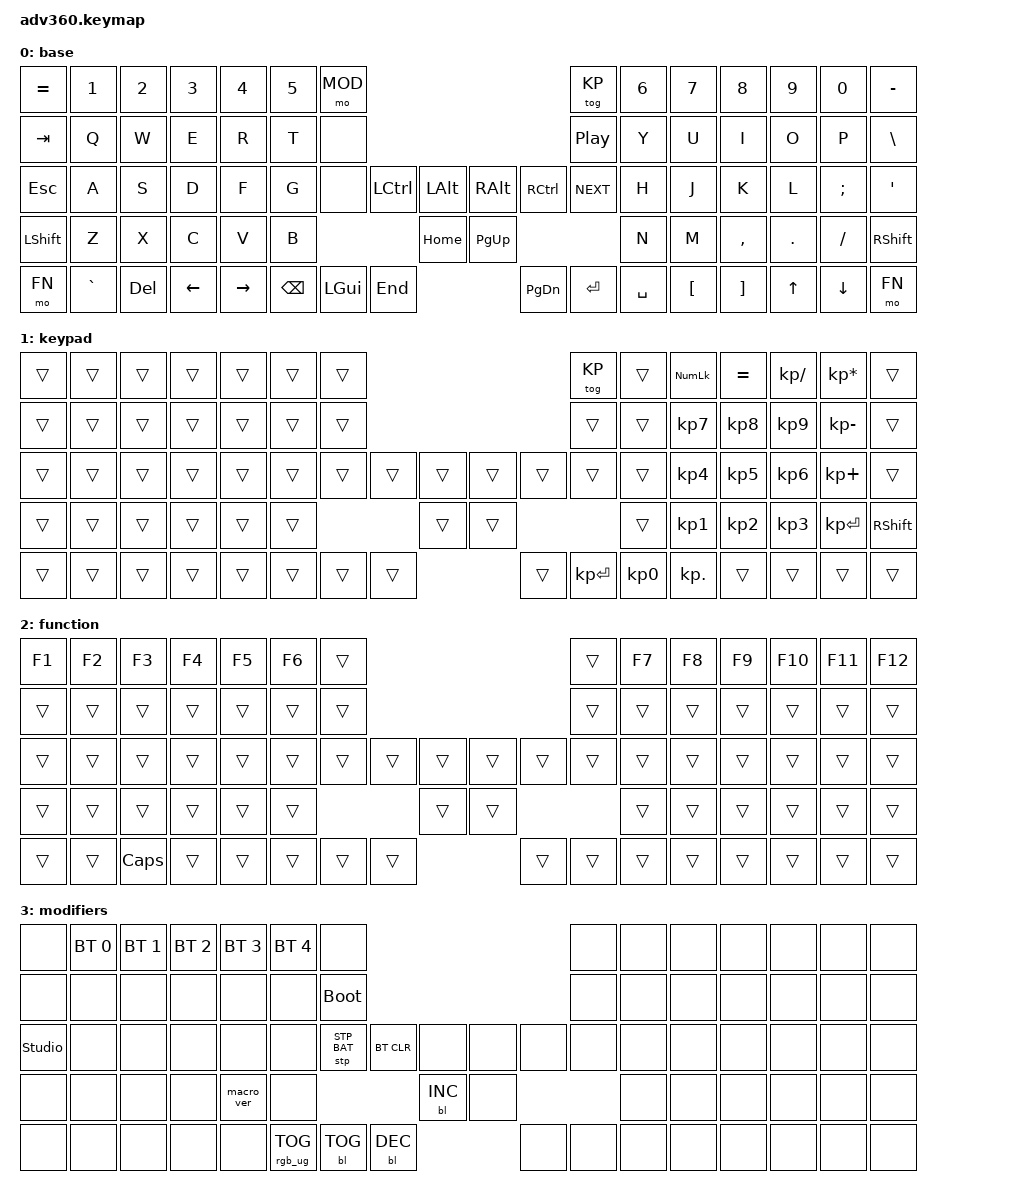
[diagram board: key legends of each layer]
#include <behaviors.dtsi>
#include <dt-bindings/zmk/keys.h>
#include <dt-bindings/zmk/bt.h>
#include <dt-bindings/zmk/rgb.h>
#include <dt-bindings/zmk/stp.h>
#include <dt-bindings/zmk/backlight.h>
#include <dt-bindings/zmk/pointing.h>

#define DFLT 0
#define KP   1
#define FN   2
#define MOD  3

/ {
    behaviors {
      #include "macros.dtsi"
      #include "version.dtsi"

      hm: homerow_mods {
          compatible = "zmk,behavior-hold-tap";
          label = "HOMEROW_MODS";
          #binding-cells = <2>;
          tapping-term-ms = <200>;
          quick_tap_ms = <175>;
          flavor = "tap-preferred";
          bindings = <&kp>, <&kp>;
      };
    };

  keymap {
    compatible = "zmk,keymap";

    default_layer {
      display-name = "base";

      // Changes from Kinesis upstream:
      //
      // * Replace: CAPS  -> DEL
      // * Swap:    KP   <-> MOD
      // * Replace: DEL   -> LGUI
      // * Assign:  BLK3  -> C_PP
      // * Assign:  BLK4  -> C_NEXT
      // * Swap:    ^    <-> [
      // * Swap:    v    <-> ]
      //
      // ┌───────┬─────┬─────┬─────┬─────┬─────┬───────┐          ┌──────┬──────┐   ┌──────┬──────┐         ┌──────┬─────┬─────┬─────┬─────┬─────┬───────┐
      // │ EQUAL │  1  │  2  │  3  │  4  │  5  │ <MOD> │          │ CTRL │ LALT │   │ RALT │ CTRL │         │ <KP> │  6  │  7  │  8  │  9  │  0  │   -   │
      // │  TAB  │  Q  │  W  │  E  │  R  │  T  │  nil  │   ┌──────┼──────┼──────│   ├──────┼──────┼─────┐   │  ||> │  Y  │  U  │  I  │  O  │  P  │   \   │
      // │  ESC  │  A  │  S  │  D  │  F  │  G  │  nil  │   │      │      │ HOME │   │ PGUP │      │     │   │  >>  │  H  │  J  │  K  │  L  │  ;  │   '   │
      // │ SHIFT │  Z  │  X  │  C  │  V  │  B  ├───────┘   │ BSPC │ LGUI ├──────┤   ├──────┤ ENTR │ SPC │   └──────┤  N  │  M  │  ,  │  .  │  /  │ SHIFT │
      // │  <FN> │  `  │ DEL │ <-  │ ->  ├─────┘           │      │      │  END │   │ PGDN │      │     │          └─────┤  [  │  ]  │  ^  │  v  │ <FN>  │
      // └───────┴─────┴─────┴─────┴─────┘                 └──────┴──────┴──────┘   └──────┴──────┴─────┘                └─────┴─────┴─────┴─────┴───────┘

      bindings = <
        &kp EQUAL &kp N1    &kp N2  &kp N3   &kp N4     &kp N5 &mo MOD                                                           &tog KP    &kp N6 &kp N7   &kp N8    &kp N9  &kp N0   &kp MINUS
        &kp TAB   &kp Q     &kp W   &kp E    &kp R      &kp T  &none                                                             &kp C_PP   &kp Y  &kp U    &kp I     &kp O   &kp P    &kp BSLH
        &kp ESC   &kp A     &kp S   &kp D    &kp F      &kp G  &none            &kp LCTRL &kp LALT &kp RALT  &kp RCTRL           &kp C_NEXT &kp H  &kp J    &kp K     &kp L   &kp SEMI &kp SQT
        &kp LSHFT &kp Z     &kp X   &kp C    &kp V      &kp B                             &kp HOME &kp PG_UP                                &kp N  &kp M    &kp COMMA &kp DOT &kp FSLH &kp RSHFT
        &mo FN    &kp GRAVE &kp DEL &kp LEFT &kp RIGHT                 &kp BSPC &kp LGUI  &kp END  &kp PG_DN &kp ENTER &kp SPACE                   &kp LBKT &kp RBKT  &kp UP  &kp DOWN &mo FN
      >;
    };

    kp {
      display-name = "keypad";

      // Changes from Kinesis upstream:
      //
      // * Changed most bindings into `&trans`
      // * Move: KP_DOT to left-most-key-on-bottom-row-right-group
      // * Move: TOG 1 to left-most-key-on-top-row-right-group
      // * Replace: ENTER    -> KP_ENTER
      // * Replace: KP_EQUAL -> EQUAL (OS compatibility reasons)
      // * Remove:  both function buttons (mo 2)
      //
      // NOTE: I hard-code the toggle key as to ensure I won't lock myself out on layer

      bindings = <
        &trans &trans &trans &trans &trans &trans &trans                                                    &tog KP &trans &kp KP_NUM &kp EQUAL &kp KP_DIVIDE &kp KP_MULTIPLY &trans
        &trans &trans &trans &trans &trans &trans &trans                                                    &trans  &trans &kp KP_N7  &kp KP_N8 &kp KP_N9     &kp KP_MINUS    &trans
        &trans &trans &trans &trans &trans &trans &trans        &trans &trans &trans &trans                 &trans  &trans &kp KP_N4  &kp KP_N5 &kp KP_N6     &kp KP_PLUS     &trans
        &trans &trans &trans &trans &trans &trans                      &trans &trans                                &trans &kp KP_N1  &kp KP_N2 &kp KP_N3     &kp KP_ENTER    &kp RSHIFT
        &trans &trans &trans &trans &trans               &trans &trans &trans &trans &kp KP_ENTER &kp KP_N0                &kp KP_DOT &trans    &trans        &trans          &trans
      >;
    };

    fn {
      display-name = "function";

      // Changes from Kinesis upstream:
      //
      // * Changed all other bindings to `&trans`
      // * Added: Caps lock where the actual key is

      bindings = <
        &kp F1 &kp F2 &kp F3   &kp F4 &kp F5 &kp F6 &trans                                           &trans &kp F7 &kp F8 &kp F9 &kp F10 &kp F11 &kp F12
        &trans &trans &trans   &trans &trans &trans &trans                                           &trans &trans &trans &trans &trans  &trans  &trans
        &trans &trans &trans   &trans &trans &trans &trans        &trans &trans &trans &trans        &trans &trans &trans &trans &trans  &trans  &trans
        &trans &trans &trans   &trans &trans &trans                      &trans &trans                      &trans &trans &trans &trans  &trans  &trans
        &trans &trans &kp CAPS &trans &trans               &trans &trans &trans &trans &trans &trans               &trans &trans &trans  &trans  &trans
      >;
    };

    mod {
      display-name = "modifiers";

      // Changes from Kinesis upstream:
      //
      // * Move all actions to the left side of the keyboard - in the case left board doesn't correctly connect to right
      // * Change all other keys to `none`. Probably overkill - but want to ensure this layer overrides everything else

      bindings = <
        &none          &bt BT_SEL 0 &bt BT_SEL 1 &bt BT_SEL 2 &bt BT_SEL 3 &bt BT_SEL 4 &none                                                                   &none &none &none &none &none &none &none
        &none          &none        &none        &none        &none        &none        &bootloader                                                             &none &none &none &none &none &none &none
        &studio_unlock &none        &none        &none        &none        &none        &stp STP_BAT                 &bt BT_CLR &none          &none &none      &none &none &none &none &none &none &none
        &none          &none        &none        &none        &macro_ver   &none                                                &bl BL_INC     &none                  &none &none &none &none &none &none
        &none          &none        &none        &none        &none                                  &rgb_ug RGB_TOG &bl BL_TOG &bl BL_DEC     &none &none &none            &none &none &none &none &none
      >;
    };

    extra1 { 
      display-name = "Red";    
      status = "reserved";
    };

    extra2 { 
      display-name = "Purple";    
      status = "reserved";
    };

    extra3 { 
      display-name = "Cyan";    
      status = "reserved";
    };

    extra4 { 
      display-name = "Yellow";    
      status = "reserved";
    };
  };
};
